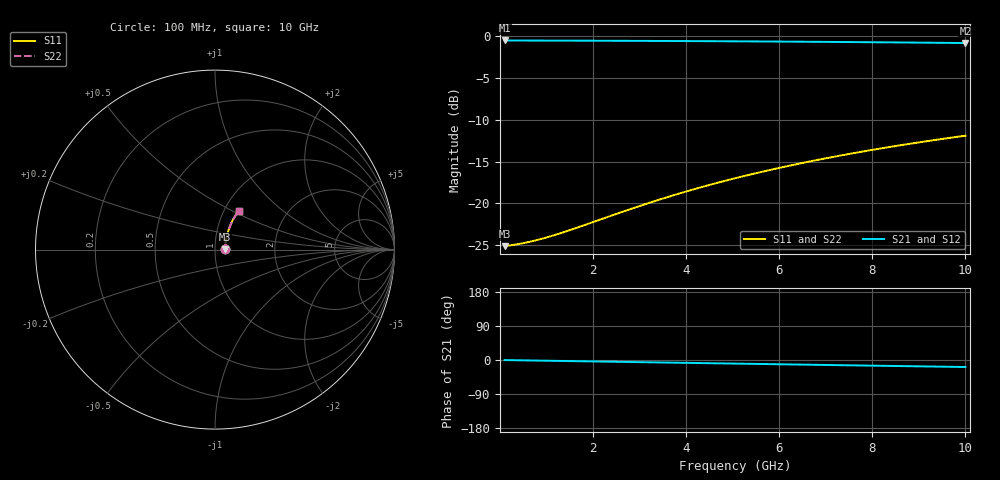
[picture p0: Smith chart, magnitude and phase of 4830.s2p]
# Hz S RI R 50.00
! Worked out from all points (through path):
!   100 points, 100 MHz to 10 GHz, reference 50 ohm
!   highest |S21| = -0.49 dB at 100 MHz (marker M1); lowest = -0.8 dB at 10 GHz (marker M2)
!   group delay of S21, straight-line fit = 5.15 ps
!   lowest |S11| = -25.1 dB at 100 MHz (marker M3), VSWR 1.12, Z = 55.8 + j0.269 ohm
!   |S11| at or under -10 dB: start of sweep to end of sweep
!   |S22| runs from -25.1 to -11.9 dB; largest |S21 - S12| = 0
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1e8  0.0552 0.0024  0.9448 -0.00312  0.9448 -0.00312  0.0552 0.0024
3e8  0.0559 0.00718  0.9441 -0.00936  0.9441 -0.00936  0.0559 0.00718
5e8  0.0564 0.012  0.9436 -0.0156  0.9436 -0.0156  0.0564 0.012
7e8  0.0569 0.0167  0.9431 -0.0218  0.9431 -0.0218  0.0569 0.0167
9e8  0.0574 0.0215  0.9426 -0.028  0.9426 -0.028  0.0574 0.0215
1.1e9  0.0579 0.0262  0.9421 -0.0342  0.9421 -0.0342  0.0579 0.0262
1.3e9  0.0584 0.031  0.9415 -0.0404  0.9415 -0.0404  0.0584 0.031
1.8e9  0.06 0.0428  0.9399 -0.0559  0.9399 -0.0559  0.06 0.0428
2.7e9  0.0636 0.0639  0.9362 -0.0835  0.9362 -0.0835  0.0636 0.0639
3.4e9  0.0672 0.0801  0.9324 -0.1048  0.9324 -0.1048  0.0672 0.0801
3.8e9  0.0696 0.0892  0.93 -0.1169  0.93 -0.1169  0.0696 0.0892
4.2e9  0.0722 0.0983  0.9273 -0.1288  0.9273 -0.1288  0.0722 0.0983
4.6e9  0.075 0.1073  0.9244 -0.1407  0.9244 -0.1407  0.075 0.1073
5.1e9  0.0788 0.1183  0.9204 -0.1555  0.9204 -0.1555  0.0788 0.1183
5.5e9  0.0821 0.1271  0.917 -0.1671  0.917 -0.1671  0.0821 0.1271
5.9e9  0.0857 0.1357  0.9134 -0.1787  0.9134 -0.1787  0.0857 0.1357
6.3e9  0.0894 0.1442  0.9095 -0.1901  0.9095 -0.1901  0.0894 0.1442
6.7e9  0.0933 0.1526  0.9054 -0.2014  0.9054 -0.2014  0.0933 0.1526
7.5e9  0.1017 0.169  0.8967 -0.2237  0.8967 -0.2237  0.1017 0.169
8.4e9  0.1121 0.1868  0.8859 -0.248  0.8859 -0.248  0.1121 0.1868
9.2e9  0.1221 0.2019  0.8755 -0.269  0.8755 -0.269  0.1221 0.2019
1e10  0.1328 0.2164  0.8644 -0.2894  0.8644 -0.2894  0.1328 0.2164
